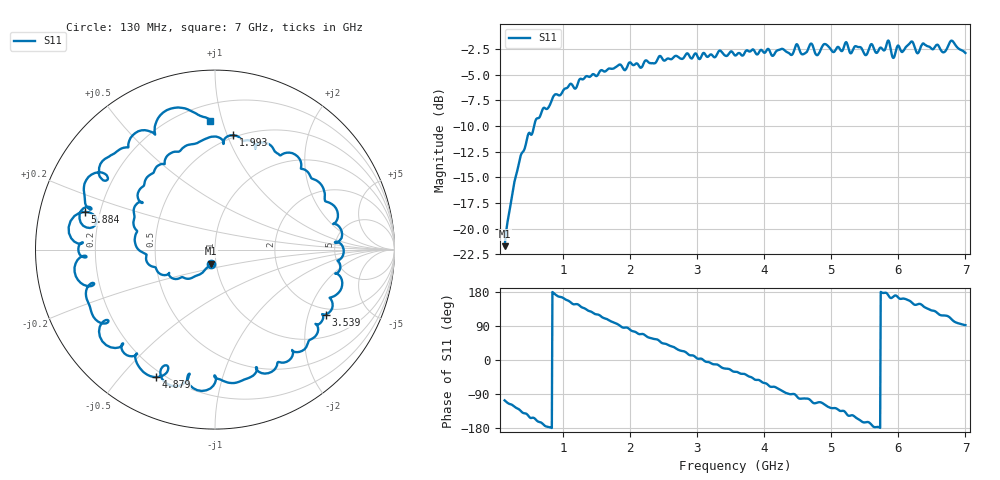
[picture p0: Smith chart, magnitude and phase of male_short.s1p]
# Hz S RI R 50.000000
! Metas.Vna.Tools, 2.8.8664.20301
! Metas.Vna.Data, 2.8.8664.20285
! Created: UTC 2024.02.09 20:24:16
! FREQ  re:S1,1  im:S1,1
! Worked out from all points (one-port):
!   801 points, 130 MHz to 7 GHz, reference 50 ohm
!   lowest |S11| = -21.7 dB at 130 MHz (marker M1), VSWR 1.18, Z = 47.1 - j7.47 ohm
!   |S11| at or under -10 dB: start of sweep to 569.8 MHz
!   S11 on the Smith chart (normalised r, x): 130 MHz: 0.94, -0.15; 1.993 GHz: 0.48, +1.05; 3.539 GHz: 1.76, -2.60; 4.879 GHz: 0.17, -0.62; 5.884 GHz: 0.14, +0.14; 7 GHz: 0.31, +0.91
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1.3e8  -0.0234 -0.0787
2.84575e8  -0.0979 -0.1433
4.735e8  -0.2308 -0.1623
9.8875e8  -0.4457 0.1178
1.33225e9  -0.3893 0.3846
1.8475e9  -0.00775 0.6296
1.993488e9  0.1011 0.637
2.422862e9  0.4147 0.5403
2.70625e9  0.608 0.3258
3.101275e9  0.7171 -0.0172
3.539238e9  0.6158 -0.3618
3.565e9  0.5969 -0.3601
3.745338e9  0.5577 -0.4846
4.063075e9  0.2969 -0.6885
4.42375e9  0.00366 -0.7076
4.5268e9  -0.1536 -0.7248
4.784425e9  -0.2719 -0.6444
4.878888e9  -0.3308 -0.7106
5.196625e9  -0.5564 -0.5484
5.2825e9  -0.5995 -0.3918
5.600238e9  -0.7822 -0.124
5.883625e9  -0.7261 0.2107
5.960912e9  -0.716 0.1232
6.14125e9  -0.7258 0.2875
6.270062e9  -0.5988 0.4054
6.364525e9  -0.6388 0.4767
6.802488e9  -0.226 0.7899
7e9  -0.0262 0.7162
